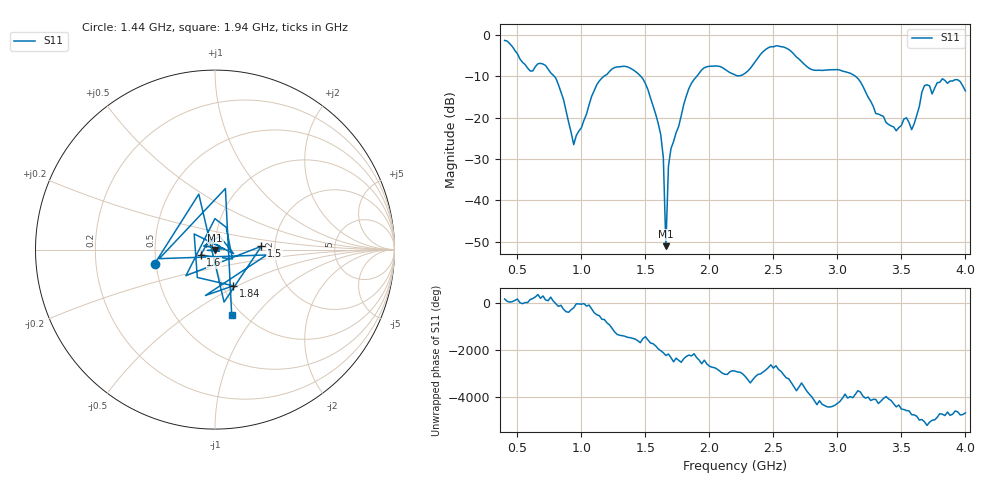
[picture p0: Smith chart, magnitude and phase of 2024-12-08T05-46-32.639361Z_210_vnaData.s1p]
!Created with skrf (http://scikit-rf.org).
# Hz S RI R 50.0
!freq ReS11 ImS11
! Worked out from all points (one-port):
!   181 points, 400 MHz to 4 GHz, reference 50 ohm
!   lowest |S11| = -51.1 dB at 1.66 GHz (marker M1), VSWR 1.01, Z = 50 - j0.276 ohm
!   |S11| at or under -10 dB: 788 MHz to 1.176 GHz (387.5 MHz wide, 39.5 % of centre); 1.464 GHz to 1.901 GHz (436.8 MHz wide, 26 % of centre); 3.142 GHz to end of sweep
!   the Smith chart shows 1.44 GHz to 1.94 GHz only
!   S11 on the Smith chart (normalised r, x): 1.44 GHz: 0.49, -0.09; 1.5 GHz: 1.69, +0.07; 1.6 GHz: 0.85, -0.05; 1.84 GHz: 1.12, -0.48; 1.94 GHz: 0.90, -0.77
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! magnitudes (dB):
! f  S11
! 400 MHz  -1.3
! 600 MHz  -8.7
! 720 MHz  -7.4
! 860 MHz  -15.6
! 940 MHz  -26.5
! 1.12 GHz  -12.0
! 1.3 GHz  -7.7
! 1.44 GHz  -9.3
! 1.5 GHz  -11.7
! 1.6 GHz  -21.4
! 1.64 GHz  -29.7
! 1.66 GHz  -51.1
! 1.68 GHz  -31.8
! 1.76 GHz  -22.1
! 1.84 GHz  -12.9
! 1.94 GHz  -8.4
! 2.2 GHz  -9.7
! 2.48 GHz  -2.8
! 2.66 GHz  -4.6
! 3.1 GHz  -9.2
! 3.38 GHz  -21.2
! 3.56 GHz  -21.2
! 3.6 GHz  -21.5
! 3.68 GHz  -12.3
! 3.74 GHz  -14.3
! 3.82 GHz  -10.6
! 3.94 GHz  -10.8
! 4 GHz  -13.5
